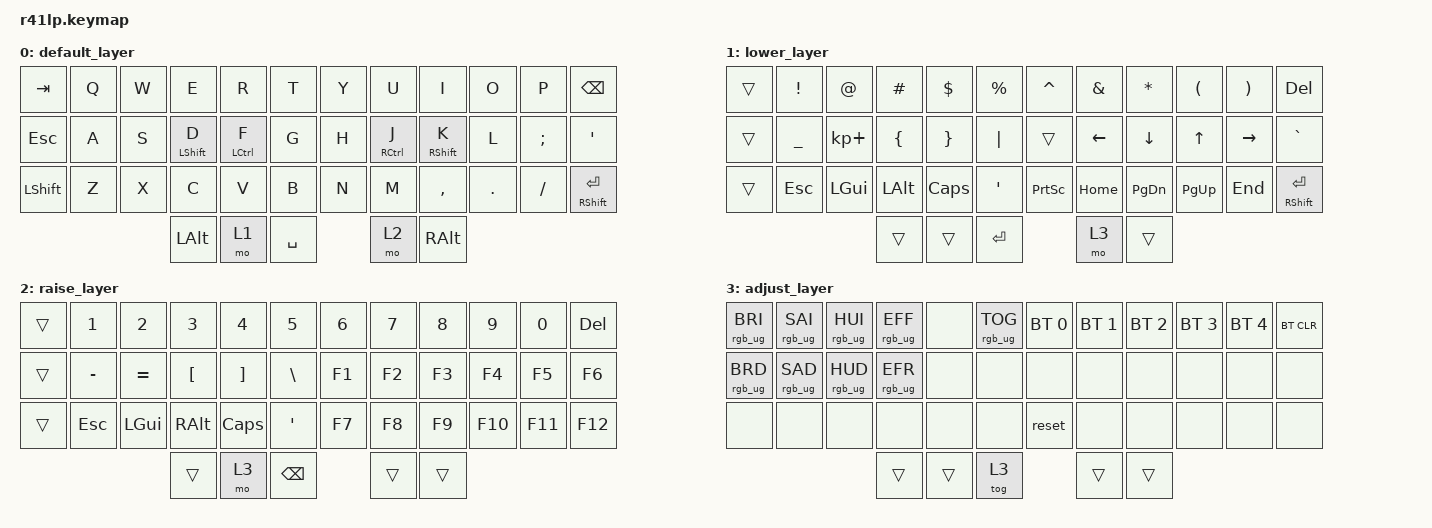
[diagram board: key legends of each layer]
/*
 * Copyright (c) 2020 The ZMK Contributors
 *
 * SPDX-License-Identifier: MIT
 */

#include <behaviors.dtsi>
#include <dt-bindings/zmk/keys.h>
#include <dt-bindings/zmk/bt.h>
#include <dt-bindings/zmk/rgb.h>

/ {
    behaviors {
        hm: homerow_mods {
            compatible = "zmk,behavior-hold-tap";
            label = "HOMEROW_MODS";
            #binding-cells = <2>;
            tapping-term-ms = <150>;
            quick_tap_ms = <0>;
            flavor = "tap-preferred";
            bindings = <&kp>, <&kp>;
        };
    };

        keymap {
                compatible = "zmk,keymap";

                default_layer {
// -------------------------------------------------------------------------------------
// |  TAB |  Q  |  W  |  E   |  R   |  T  |   |  Y  |  U   |  I   |  O  |  P  |   BKSP    |
// | CTRL |  A  |  S  |SFT(D)|CTL(F)|  G  |   |  H  |CTL(J)|SFT(K)|  L  |  ;  |    '      |
// | SHFT |  Z  |  X  |  C   |  V   |  B  |   |  N  |  M   |  ,   |  .  |  /  | SHFT(RET) |
//                           | ALT | LWR | SPC | RSE | ALT |
                        bindings = <
   &kp TAB   &kp Q &kp W &kp E &kp R &kp T   &kp Y &kp U  &kp I     &kp O   &kp P    &kp BSPC
   &kp ESC   &kp A &kp S &hm LSHFT D &hm LCTRL F &kp G   &kp H &hm RCTRL J  &hm RSHFT K     &kp L   &kp SEMI &kp SQT
   &kp LSHFT &kp Z &kp X &kp C &kp V &kp B   &kp N &kp M  &kp COMMA &kp DOT &kp FSLH &mt RSHFT RET
                        &kp LALT  &mo 1 &kp SPACE &mo 2  &kp RALT
                        >;
                };

                lower_layer {
// ----------------------------------------------------------------------------------
// |    |  !  |  @  |  #  |  $  |  %  |   |  ^  |  &  |  *  |  (  |  )  |    DEL    |
// |    |  _  |  +  |  {  |  }  | "|" |   | LFT | DWN |  UP | RGT |  `  |     ~     |
// |    | ESC | GUI | ALT | CAPS|  "  |   | HOME| END | PGUP| PGDN| PRSC| SHFT(RET) |
//                       |     |     | RET | ADJ |     |
                        bindings = <
   &trans &kp EXCL  &kp AT      &kp HASH &kp DLLR &kp PRCNT      &kp CARET &kp AMPS &kp ASTRK &kp LPAR  &kp RPAR  &kp DEL
   &trans &kp UNDER &kp KP_PLUS &kp LBRC &kp RBRC &kp PIPE       &trans    &kp LEFT &kp DOWN  &kp UP    &kp RIGHT &kp GRAVE
   &trans &kp ESC   &kp LGUI    &kp LALT &kp CLCK &kp SQT        &kp PSCRN &kp HOME &kp PG_DN &kp PG_UP &kp END   &mt RSHFT RET
                                 &trans      &trans       &kp RET        &mo 3       &trans
                        >;
                };

                raise_layer {
// -----------------------------------------------------------------------------------------
// |    |  1  |  2  |  3  |  4  |  5  |   |  6  |  7  |  8  |  9  |  0  | DEL |
// |    |  -  |  =  |  [  |  ]  |  \  |   | F1  | F2  | F3  | F4  | F5  | F6  |
// |    | ESC | GUI | ALT | CAPS|  "  |   | F7  | F8  | F9  | F10 | F11 | F12 |
//                       |     | ADJ | BKSP |    |     |
                        bindings = <
   &trans &kp N1    &kp N2    &kp N3    &kp N4    &kp N5        &kp N6    &kp N7    &kp N8    &kp N9    &kp N0    &kp DEL
   &trans &kp MINUS &kp EQUAL &kp LBKT  &kp RBKT  &kp BSLH      &kp F1    &kp F2    &kp F3    &kp F4    &kp F5    &kp F6
   &trans &kp ESC   &kp LGUI  &kp RALT  &kp CLCK  &kp SQT       &kp F7    &kp F8    &kp F9    &kp F10   &kp F11   &kp F12
                                &trans      &mo 3       &kp BSPC        &trans      &trans
                        >;
                };

                adjust_layer {
// -----------------------------------------------------------------------------------------
// | RGB BRI+ | RGB SAT+ | RGB HUE+ | RGB ANI+ |    | RGB TOG |   |  BT1  | BT2 | BT3 | BT4 | BT5 | BT CLR |
// | RGB BRI- | RGB SAT- | RGB HUE- | RGB ANI+ |    |         |   |       |     |     |     |     |        |
// |          |          |          |          |    |         |   | RESET |     |     |     |     |        |
//                                              |     |     |     |     |     |
                        bindings = <
   &rgb_ug RGB_BRI &rgb_ug RGB_SAI &rgb_ug RGB_HUI &rgb_ug RGB_EFF &none &rgb_ug RGB_TOG    &bt BT_SEL 0 &bt BT_SEL 1 &bt BT_SEL 2 &bt BT_SEL 3 &bt BT_SEL 4 &bt BT_CLR
   &rgb_ug RGB_BRD &rgb_ug RGB_SAD &rgb_ug RGB_HUD &rgb_ug RGB_EFR &none &none              &none        &none        &none        &none        &none        &none
   &none           &none           &none           &none           &none &none              &reset       &none        &none        &none        &none        &none
                                                             &trans      &trans       &tog 3        &trans      &trans
                        >;
                };
        };
};
